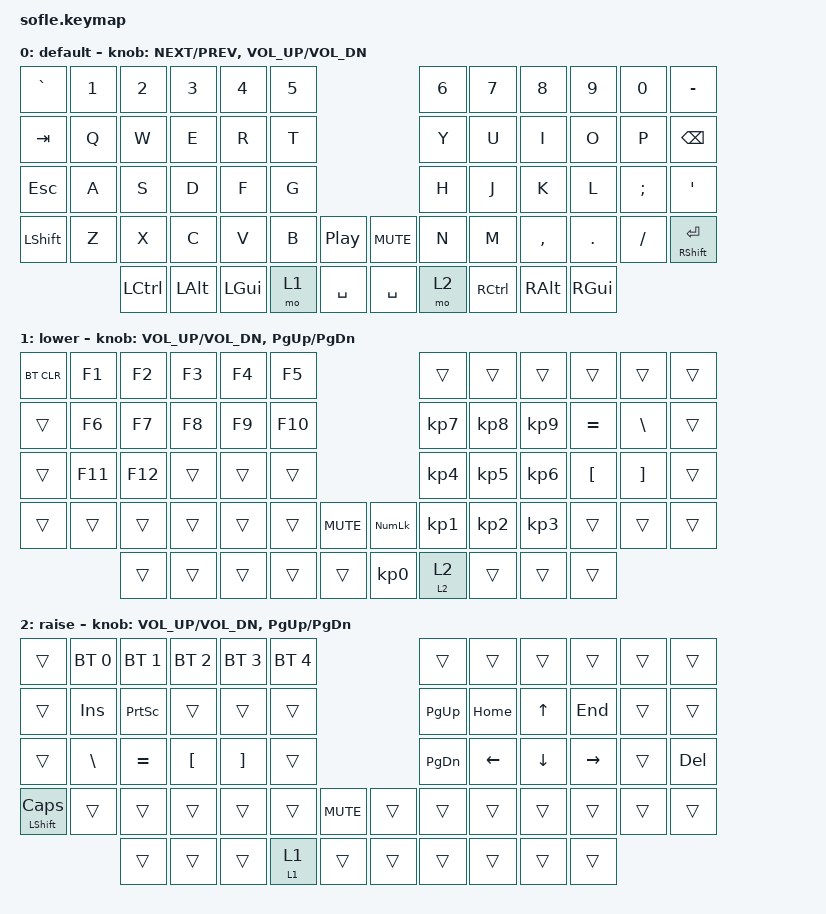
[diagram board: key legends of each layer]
/*
 * Copyright (c) 2020 The ZMK Contributors
 *
 * SPDX-License-Identifier: MIT
 */

#include <behaviors.dtsi>
#include <dt-bindings/zmk/keys.h>
#include <dt-bindings/zmk/bt.h>

/ {
    behaviors {
        lm: layer_mods {
            compatible = "zmk,behavior-hold-tap";
            #binding-cells = <2>;
            tapping-term-ms = <150>;
            quick_tap_ms = <0>;
            flavor = "hold-preferred";
            bindings = <&mo>, <&tog>;
        };
    };

    left_encoder: encoder_left {
        compatible = "alps,ec11";
        a-gpios = <&pro_micro 21 (GPIO_ACTIVE_HIGH | GPIO_PULL_UP)>;
        b-gpios = <&pro_micro 20 (GPIO_ACTIVE_HIGH | GPIO_PULL_UP)>;
        steps = <80>;
        status = "okay";
    };

    right_encoder: encoder_right {
        compatible = "alps,ec11";
        a-gpios = <&pro_micro 20 (GPIO_ACTIVE_HIGH | GPIO_PULL_UP)>;
        b-gpios = <&pro_micro 21 (GPIO_ACTIVE_HIGH | GPIO_PULL_UP)>;
        steps = <80>;
        status = "okay";
    };

    sensors {
        compatible = "zmk,keymap-sensors";
        sensors = <&left_encoder &right_encoder>;
        triggers-per-rotation = <20>;
    };

    keymap {
        compatible = "zmk,keymap";

        default_layer {
            display-name = "default";
// ------------------------------------------------------------------------------------------------------------
// |  `~   |  1  |  2  |  3   |  4   |  5   |                   |  6   |  7    |  8    |  9   |   0   |   -_  |
// |  TAB  |  Q  |  W  |  E   |  R   |  T   |                   |  Y   |  U    |  I    |  O   |   P   | BKSPC |
// |  ESC  |  A  |  S  |  D   |  F   |  G   |                   |  H   |  J    |  K    |  L   |   :;  |  '"   |
// |  LSH  |  Z  |  X  |  C   |  V   |  B   |  PLAY  |  | MUTE  |  N   |  M    |  <,   |  >.  |   ?/  | EN/SH |
//               | CTL | ALT  | GUI  | LOWER|  SPACE |  | SPACE | RAISE| CTRL  | ALT   | GUI  |
            bindings = <
&kp GRAVE &kp N1 &kp N2    &kp N3   &kp N4    &kp N5                               &kp N6   &kp N7    &kp N8    &kp N9   &kp N0   &kp MINUS
&kp TAB   &kp Q  &kp W     &kp E    &kp R     &kp T                                &kp Y    &kp U     &kp I     &kp O    &kp P    &kp BSPC
&kp ESC   &kp A  &kp S     &kp D    &kp F     &kp G                                &kp H    &kp J     &kp K     &kp L    &kp SEMI &kp SQT
&kp LSHFT &kp Z  &kp X     &kp C    &kp V     &kp B  &kp C_PLAY_PAUSE  &kp K_MUTE  &kp N    &kp M     &kp COMMA &kp DOT  &kp FSLH &mt RSHFT RET
                 &kp LCTRL &kp LALT &kp LGUI  &mo 1  &kp SPACE         &kp SPACE   &mo 2    &kp RCTRL &kp RALT  &kp RGUI
            >;

            sensor-bindings = <&inc_dec_kp C_NEXT C_PREV &inc_dec_kp C_VOL_UP C_VOL_DN>;
        };

        lower_layer {
            display-name = "lower";
// ------------------------------------------------------------------------------------------------------------
// | BTCLR | F1  | F2  |  F3  |  F4  |  F5  |                   |      |       |       |      |       |       |
// |       | F6  | F7  |  F8  |  F9  |  F10 |                   |  n7  |  n8   |  n9   |  =+  |   \|  |       |
// |       | F11 | F12 |      |      |      |                   |  n4  |  n5   |  n6   |  [{  |   ]}  |       |
// |       |     |     |      |      |      |  MUTE  |  |  NUM  |  n1  |  n2   |  n3   |      |       |       |
//               |     |      |      |      |        |  |   n0  |RAISET|       |       |      |
            bindings = <
&bt BT_CLR &kp F1    &kp F2   &kp F3  &kp F4  &kp F5                           &trans     &trans     &trans     &trans    &trans    &trans
&trans     &kp F6    &kp F7   &kp F8  &kp F9  &kp F10                          &kp KP_N7  &kp KP_N8  &kp KP_N9  &kp EQUAL &kp BSLH  &trans
&trans     &kp F11   &kp F12  &trans  &trans  &trans                           &kp KP_N4  &kp KP_N5  &kp KP_N6  &kp LBKT  &kp RBKT  &trans
&trans     &trans    &trans   &trans  &trans  &trans  &kp K_MUTE   &kp KP_NLCK &kp KP_N1  &kp KP_N2  &kp KP_N3  &trans    &trans    &trans
                     &trans   &trans  &trans  &trans  &trans       &kp KP_N0   &lm 2 2    &trans     &trans     &trans
            >;

            sensor-bindings = <&inc_dec_kp C_VOL_UP C_VOL_DN &inc_dec_kp PG_UP PG_DN>;
        };

        raise_layer {
            display-name = "raise";
// ------------------------------------------------------------------------------------------------------------
// |     | BT1  | BT2  |  BT3  |  BT4  |  BT5   |                |      |      |       |      |       |       |
// |     | INS  | PSCR |       |       |        |                | PGUP | HOME |   ^   | END  |       |       |
// |     |  \|  |  =+  |  [{   |  ]}   |        |                | PGDN |   <- |   v   |  ->  |       |  DEL  |
// |CA/SH|      |      |       |       |        | MUTE |  |      |      |      |       |      |       |       |
//              |      |       |       | LOWERT |      |  |      |      |      |       |      |
            bindings = <
&trans         &bt BT_SEL 0 &bt BT_SEL 1 &bt BT_SEL 2 &bt BT_SEL 3 &bt BT_SEL 4                 &trans    &trans    &trans   &trans    &trans  &trans
&trans         &kp INS      &kp PSCRN    &trans       &trans       &trans                       &kp PG_UP &kp HOME  &kp UP   &kp END   &trans  &trans
&trans         &kp BSLH     &kp EQUAL    &kp LBKT     &kp RBKT     &trans                       &kp PG_DN &kp LEFT  &kp DOWN &kp RIGHT &trans  &kp DEL
&mt LSHFT CAPS &trans       &trans       &trans       &trans       &trans  &kp K_MUTE   &trans  &trans    &trans    &trans   &trans    &trans  &trans
                            &trans       &trans       &trans       &lm 1 1 &trans       &trans  &trans    &trans    &trans   &trans
            >;

            sensor-bindings = <&inc_dec_kp C_VOL_UP C_VOL_DN &inc_dec_kp PG_UP PG_DN>;
        };
    };
};
